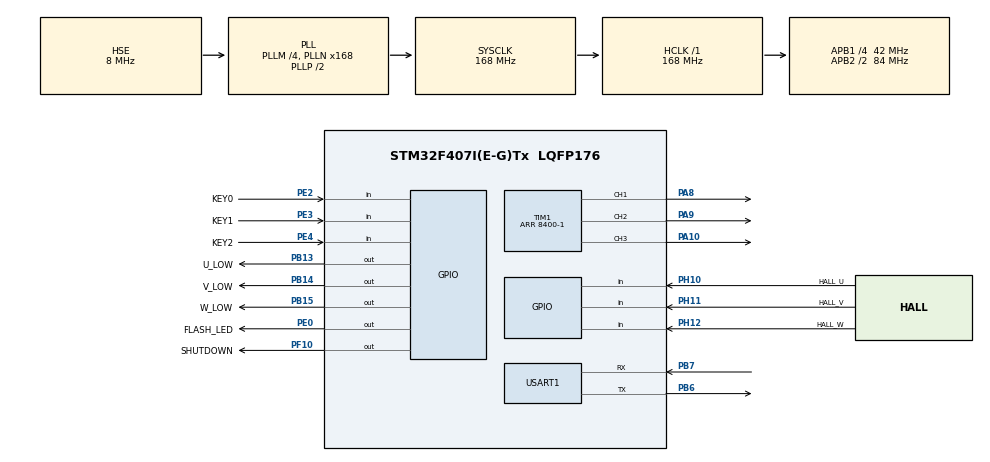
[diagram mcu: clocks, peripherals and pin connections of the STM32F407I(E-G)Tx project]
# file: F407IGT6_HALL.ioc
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Mcu.Family=STM32F4
Mcu.Name=STM32F407I(E-G)Tx
Mcu.Package=LQFP176
NVIC.PriorityGroup=NVIC_PRIORITYGROUP_4
NVIC.TIM1_UP_TIM10_IRQn=true\:1\:0\:true\:false\:true\:true\:true\:true
NVIC.TIM2_IRQn=true\:0\:0\:false\:false\:true\:true\:true\:true
PA10.Signal=S_TIM1_CH3
PA8.Signal=S_TIM1_CH1
PA9.Signal=S_TIM1_CH2
PB13.GPIO_Label=U_LOW
PB13.GPIO_Speed=GPIO_SPEED_FREQ_LOW
PB13.Signal=GPIO_Output
PB14.GPIO_Label=V_LOW
PB14.GPIO_Speed=GPIO_SPEED_FREQ_LOW
PB14.Signal=GPIO_Output
PB15.GPIO_Label=W_LOW
PB15.GPIO_Speed=GPIO_SPEED_FREQ_LOW
PB15.Signal=GPIO_Output
PB6.Mode=Asynchronous
PB6.Signal=USART1_TX
PB7.Mode=Asynchronous
PB7.Signal=USART1_RX
PE0.GPIO_Label=FLASH_LED
PE0.Signal=GPIO_Output
PE2.GPIO_Label=KEY0
PE2.GPIO_PuPd=GPIO_PULLUP
PE2.Signal=GPIO_Input
PE3.GPIO_Label=KEY1
PE3.GPIO_PuPd=GPIO_PULLUP
PE3.Signal=GPIO_Input
PE4.GPIO_Label=KEY2
PE4.GPIO_PuPd=GPIO_PULLUP
PE4.Signal=GPIO_Input
PF10.GPIO_Label=SHUTDOWN
PF10.Signal=GPIO_Output
PH0-OSC_IN.Mode=HSE-External-Oscillator
PH0-OSC_IN.Signal=RCC_OSC_IN
PH1-OSC_OUT.Mode=HSE-External-Oscillator
PH1-OSC_OUT.Signal=RCC_OSC_OUT
PH10.GPIO_Label=HALL_U
PH10.GPIO_PuPd=GPIO_PULLUP
PH10.Signal=GPIO_Input
PH11.GPIO_Label=HALL_V
PH11.GPIO_PuPd=GPIO_PULLUP
PH11.Signal=GPIO_Input
PH12.GPIO_Label=HALL_W
PH12.GPIO_PuPd=GPIO_PULLUP
PH12.Signal=GPIO_Input
ProjectManager.HeapSize=0x200
ProjectManager.StackSize=0x400
ProjectManager.TargetToolchain=MDK-ARM V5.32
RCC.48MHZClocksFreq_Value=84000000
RCC.AHBFreq_Value=168000000
RCC.APB1CLKDivider=RCC_HCLK_DIV4
RCC.APB1Freq_Value=42000000
RCC.APB1TimFreq_Value=84000000
RCC.APB2CLKDivider=RCC_HCLK_DIV2
RCC.APB2Freq_Value=84000000
RCC.APB2TimFreq_Value=168000000
RCC.CortexFreq_Value=168000000
RCC.EnbaleCSS=true
RCC.HCLKFreq_Value=168000000
RCC.HSE_VALUE=8000000
RCC.HSI_VALUE=16000000
RCC.LSE_VALUE=32768
RCC.PLLM=4
RCC.PLLN=168
RCC.PLLSourceVirtual=RCC_PLLSOURCE_HSE
RCC.SYSCLKFreq_VALUE=168000000
RCC.SYSCLKSource=RCC_SYSCLKSOURCE_PLLCLK
RCC.VCOOutputFreq_Value=336000000
SH.S_TIM1_CH1.0=TIM1_CH1,PWM Generation1 CH1
SH.S_TIM1_CH2.0=TIM1_CH2,PWM Generation2 CH2
SH.S_TIM1_CH3.0=TIM1_CH3,PWM Generation3 CH3
TIM1.AutoReloadPreload=TIM_AUTORELOAD_PRELOAD_ENABLE
TIM1.Channel-PWM\ Generation1\ CH1=TIM_CHANNEL_1
TIM1.Channel-PWM\ Generation2\ CH2=TIM_CHANNEL_2
TIM1.Channel-PWM\ Generation3\ CH3=TIM_CHANNEL_3
TIM1.Period=8400-1
TIM2.AutoReloadPreload=TIM_AUTORELOAD_PRELOAD_ENABLE
TIM2.Period=5000
TIM2.Prescaler=1680-1
USART1.VirtualMode=VM_ASYNC
VP_TIM1_VS_ClockSourceINT.Mode=Internal
VP_TIM2_VS_ClockSourceINT.Mode=Internal
board=custom

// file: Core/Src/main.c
/* USER CODE BEGIN Header */
/**
 ******************************************************************************
 * @file           : main.c
 * @brief          : Main program body
 ******************************************************************************
 * @attention
 *
 * Copyright (c) 2023 STMicroelectronics.
 * All rights reserved.
 *
 * This software is licensed under terms that can be found in the LICENSE file
 * in the root directory of this software component.
 * If no LICENSE file comes with this software, it is provided AS-IS.
 *
 ******************************************************************************
 */
/* USER CODE END Header */
#include "main.h"
#include "tim.h"
#include "usart.h"
#include "gpio.h"

/* USER CODE BEGIN Includes */
#include "stdio.h"
#include "hall.h"
#include "variable.h"
#include "bldc.h"
#include "btn.h"
#include "multi_button.h"
/* USER CODE END Includes */

void SystemClock_Config(void);

/* USER CODE BEGIN 0 */
int fputc(int c, FILE *stream) // 重写fputc函数
{
  /*
     huart1是工具生成代码定义的UART1结构体，
     如果以后要使用其他串口打印，只需要把这个结构体改成其他UART结构体。
 */
  HAL_UART_Transmit(&huart1, (unsigned char *)&c, 1, 1000);
  return 1;
}

int count = 0;
/* USER CODE END 0 */

int main(void)
{

  /* MCU Configuration--------------------------------------------------------*/

  /* Reset of all peripherals, Initializes the Flash interface and the Systick. */
  HAL_Init();

  /* Configure the system clock */
  SystemClock_Config();

  /* Initialize all configured peripherals */
  MX_GPIO_Init();
  MX_TIM1_Init();
  MX_USART1_UART_Init();
  MX_TIM2_Init();
  /* USER CODE BEGIN 2 */
  VariableInit();
  BtnInit();
  StartMotor();
  HAL_TIM_Base_Start_IT(&htim2); // 定时器2
  HAL_TIM_Base_Start_IT(&htim1); // 后开中断
  /* USER CODE END 2 */

  /* Infinite loop */
  while (1)
  {

    /* USER CODE BEGIN 3 */

    HAL_Delay(1000);
  }
  /* USER CODE END 3 */
}

void SystemClock_Config(void)
{
  RCC_OscInitTypeDef RCC_OscInitStruct = {0};
  RCC_ClkInitTypeDef RCC_ClkInitStruct = {0};

  /** Configure the main internal regulator output voltage
   */
  __HAL_RCC_PWR_CLK_ENABLE();
  __HAL_PWR_VOLTAGESCALING_CONFIG(PWR_REGULATOR_VOLTAGE_SCALE1);

  /** Initializes the RCC Oscillators according to the specified parameters
   * in the RCC_OscInitTypeDef structure.
   */
  RCC_OscInitStruct.OscillatorType = RCC_OSCILLATORTYPE_HSE;
  RCC_OscInitStruct.HSEState = RCC_HSE_ON;
  RCC_OscInitStruct.PLL.PLLState = RCC_PLL_ON;
  RCC_OscInitStruct.PLL.PLLSource = RCC_PLLSOURCE_HSE;
  RCC_OscInitStruct.PLL.PLLM = 4;
  RCC_OscInitStruct.PLL.PLLN = 168;
  RCC_OscInitStruct.PLL.PLLP = RCC_PLLP_DIV2;
  RCC_OscInitStruct.PLL.PLLQ = 4;
  if (HAL_RCC_OscConfig(&RCC_OscInitStruct) != HAL_OK)
  {
    Error_Handler();
  }

  /** Initializes the CPU, AHB and APB buses clocks
   */
  RCC_ClkInitStruct.ClockType = RCC_CLOCKTYPE_HCLK | RCC_CLOCKTYPE_SYSCLK | RCC_CLOCKTYPE_PCLK1 | RCC_CLOCKTYPE_PCLK2;
  RCC_ClkInitStruct.SYSCLKSource = RCC_SYSCLKSOURCE_PLLCLK;
  RCC_ClkInitStruct.AHBCLKDivider = RCC_SYSCLK_DIV1;
  RCC_ClkInitStruct.APB1CLKDivider = RCC_HCLK_DIV4;
  RCC_ClkInitStruct.APB2CLKDivider = RCC_HCLK_DIV2;

  if (HAL_RCC_ClockConfig(&RCC_ClkInitStruct, FLASH_LATENCY_5) != HAL_OK)
  {
    Error_Handler();
  }

  /** Enables the Clock Security System
   */
  HAL_RCC_EnableCSS();
}

/* USER CODE BEGIN 4 */
void HAL_TIM_PeriodElapsedCallback(TIM_HandleTypeDef *htim)
{
  if (htim->Instance == htim1.Instance)
  {
    GetHallState();

    if (motorParameter.hallState <= 6 && motorParameter.hallState >= 1)
    {

      if (motorParameter.dir == CW)
      {
        switchArray[motorParameter.hallState - 1]();
      }
      else
      {
        switchArray[7 - motorParameter.hallState - 1]();
      }
    }
    else
    {
      StopMotor();
    }
  }
  else if (htim->Instance == htim2.Instance)
  {
    static int count = 0; // 50ms一次 20hz
    if (count++ == 20)
    {
      count = 0;
      HAL_GPIO_TogglePin(FLASH_LED_GPIO_Port, FLASH_LED_Pin);
    }
    button_ticks();
  }
}
/* USER CODE END 4 */

void Error_Handler(void)
{
  __disable_irq();
  while (1)
  {
  }
}
